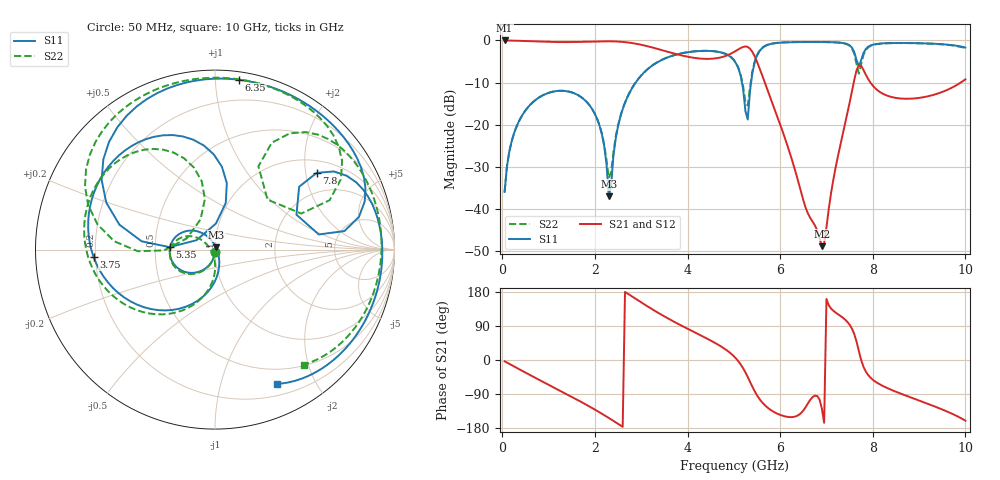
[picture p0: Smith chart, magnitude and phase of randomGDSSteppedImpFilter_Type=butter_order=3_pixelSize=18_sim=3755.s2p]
! freq	dB(S11)	phase(S11)	dB(S12)	phase(S12)
!  dB(S21)	phase(S21)	dB(S22)	phase(S22)
!S-par simulation data
#  GHz  S  DB  R 50
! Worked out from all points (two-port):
!   200 points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, 50 MHz to 10 GHz, reference 50 ohm
!   highest |S21| = -0.01 dB at 50 MHz (marker M1); lowest = -48.8 dB at 6.9 GHz (marker M2)
!   |S21| within 3 dB of the highest: start of sweep to 3.677 GHz; 4.959 GHz to 5.414 GHz (454.8 MHz wide, 8.77 % of centre)
!   lowest |S11| = -36.9 dB at 2.3 GHz (marker M3), VSWR 1.03, Z = 50.7 + j1.25 ohm
!   |S11| at or under -10 dB: start of sweep to 2.88 GHz; 5.175 GHz to 5.373 GHz (197.6 MHz wide, 3.75 % of centre)
!   |S22| runs from -35.9 to -0.4 dB; largest |S21 - S12| = 0
!   S11 on the Smith chart (normalised r, x): 50 MHz: 1.00, -0.03; 3.75 GHz: 0.19, -0.03; 5.35 GHz: 0.60, +0.02; 6.35 GHz: 0.05, +1.15; 7.8 GHz: 1.34, +2.31; 10 GHz: 0.32, -1.51
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0.05  -35.91 -93.2  -0.01 -3.4  -0.01 -3.4  -35.90 -93.0
0.2  -23.99 -103.8  -0.04 -13.4  -0.04 -13.4  -23.99 -103.0
0.55  -15.90 -128.1  -0.16 -36.5  -0.16 -36.5  -15.90 -125.8
1.75  -13.83 151.4  -0.33 -113.7  -0.33 -113.7  -13.82 161.5
2.15  -22.22 117.8  -0.21 -141.8  -0.21 -141.8  -22.06 144.2
2.3  -36.91 60.0  -0.20 -153.0  -0.20 -153.0  -32.62 -171.9
2.65  -14.78 -91.1  -0.40 179.7  -0.40 179.7  -14.69 -95.1
3.4  -4.86 -152.1  -2.15 122.0  -2.15 122.0  -4.84 -146.0
3.75  -3.38 -176.6  -3.22 98.3  -3.22 98.3  -3.36 -168.2
4.45  -2.48 138.9  -4.37 54.7  -4.37 54.7  -2.46 151.3
5.05  -5.49 90.8  -2.44 3.5  -2.44 3.5  -5.39 108.7
5.3  -18.75 153.0  -1.54 -44.9  -1.54 -44.9  -15.42 158.5
5.35  -11.92 176.9  -1.96 -57.7  -1.96 -57.7  -10.94 -179.1
5.65  -1.49 134.5  -9.42 -116.9  -9.42 -116.9  -1.44 148.0
6.35  -0.39 81.9  -31.83 -148.2  -31.83 -148.2  -0.39 99.4
6.7  -0.37 63.8  -42.92 -97.9  -42.92 -97.9  -0.37 82.2
6.9  -0.38 53.8  -48.76 -127.9  -48.76 -127.9  -0.39 72.5
7.5  -1.16 17.7  -14.77 93.2  -14.77 93.2  -1.27 35.0
7.65  -4.67 8.3  -7.07 48.3  -7.07 48.3  -5.66 22.6
7.8  -2.97 37.0  -7.01 -18.1  -7.01 -18.1  -3.43 62.0
8.35  -0.63 3.8  -13.23 -76.1  -13.23 -76.1  -0.66 24.6
10  -1.68 -65.2  -9.23 -160.1  -9.23 -160.1  -1.82 -52.1
